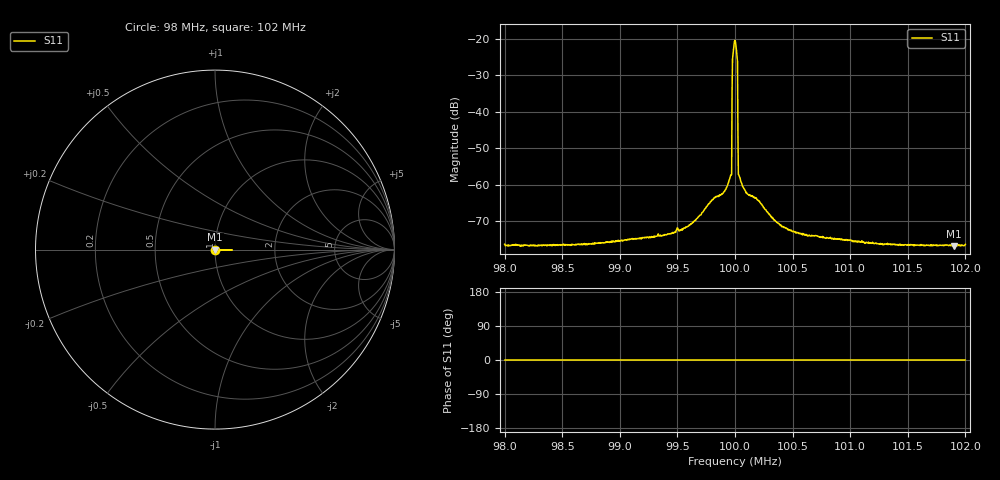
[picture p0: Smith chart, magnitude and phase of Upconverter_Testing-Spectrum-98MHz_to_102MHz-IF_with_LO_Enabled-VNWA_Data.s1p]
! ListType=Lin
# MHz S DB R 50
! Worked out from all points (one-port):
!   1024 points, 98 MHz to 102 MHz, reference 50 ohm
!   lowest |S11| = -76.9 dB at 101.9 MHz (marker M1), VSWR 1.00, Z = 50 + j0 ohm
!   |S11| at or under -10 dB: start of sweep to end of sweep
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98  -76.31 0.0
98.50049  -76.59 0.0
99.00098  -75.40 0.0
99.37243  -73.93 0.0
99.50147  -71.83 0.0
99.57967  -71.57 0.0
99.65787  -69.79 0.0
99.80645  -64.11 0.0
99.90029  -62.07 0.0
99.95112  -58.61 0.0
99.95894  -57.83 0.0
99.99413  -20.89 0.0
99.99805  -20.40 0.0
100.002  -20.53 0.0
100.0059  -21.18 0.0
100.0098  -22.23 0.0
100.045  -58.29 0.0
100.0489  -58.89 0.0
100.1036  -62.37 0.0
100.1975  -64.28 0.0
100.3421  -69.69 0.0
100.4086  -71.56 0.0
100.5024  -72.89 0.0
100.6432  -73.81 0.0
101.0029  -75.16 0.0
101.5034  -76.39 0.0
101.8983  -76.86 0.0
102  -76.35 0.0
